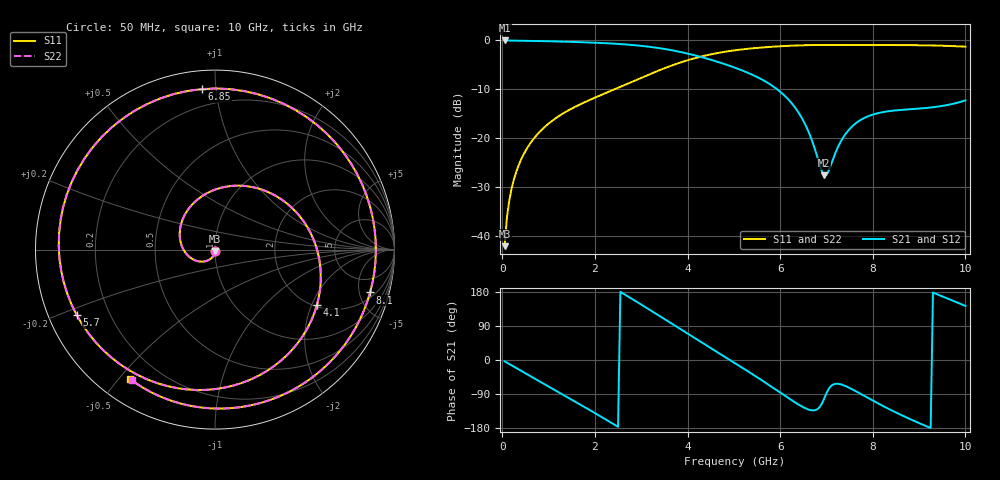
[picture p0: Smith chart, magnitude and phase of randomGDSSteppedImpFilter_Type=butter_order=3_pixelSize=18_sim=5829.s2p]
! freq	dB(S11)	phase(S11)	dB(S12)	phase(S12)
!  dB(S21)	phase(S21)	dB(S22)	phase(S22)
!S-par simulation data
#  GHz  S  DB  R 50
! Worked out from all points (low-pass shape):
!   200 points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, 50 MHz to 10 GHz, reference 50 ohm
!   highest |S21| = -0.02 dB at 50 MHz (marker M1); lowest = -27.6 dB at 6.95 GHz (marker M2)
!   |S21| within 3 dB of the highest: start of sweep to 4.141 GHz
!   lowest |S11| = -42.0 dB at 50 MHz (marker M3), VSWR 1.02, Z = 50.1 - j0.787 ohm
!   |S11| at or under -10 dB: start of sweep to 2.418 GHz
!   |S22| runs from -42.0 to -0.9 dB; largest |S21 - S12| = 0
!   S11 on the Smith chart (normalised r, x): 50 MHz: 1.00, -0.02; 4.1 GHz: 2.06, -2.19; 5.7 GHz: 0.08, -0.22; 6.85 GHz: 0.10, +0.92; 8.1 GHz: 2.60, -6.32; 10 GHz: 0.10, -0.54
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0.05  -42.00 -81.3  -0.02 -3.5  -0.02 -3.5  -42.00 -81.3
0.2  -30.29 -100.9  -0.04 -14.0  -0.04 -14.0  -30.29 -100.9
0.5  -22.58 -124.6  -0.08 -34.8  -0.08 -34.8  -22.58 -124.5
1.15  -15.91 -171.0  -0.21 -80.1  -0.21 -80.1  -15.91 -170.8
1.75  -12.75 146.6  -0.39 -122.3  -0.39 -122.3  -12.75 146.9
2.15  -11.08 118.0  -0.54 -150.9  -0.54 -150.9  -11.08 118.3
2.55  -9.47 88.9  -0.76 179.9  -0.76 179.9  -9.47 89.2
2.95  -7.84 59.1  -1.07 150.1  -1.07 150.1  -7.84 59.4
3.4  -6.07 25.0  -1.60 115.8  -1.60 115.8  -6.07 25.2
4.1  -3.79 -28.6  -2.92 62.0  -2.92 62.0  -3.79 -28.5
4.55  -2.76 -63.0  -4.09 27.7  -4.09 27.7  -2.76 -63.0
5.05  -1.99 -101.6  -5.67 -10.3  -5.67 -10.3  -1.99 -101.6
5.7  -1.39 -154.7  -8.49 -61.3  -8.49 -61.3  -1.39 -154.6
6.2  -1.10 159.8  -12.31 -102.2  -12.31 -102.2  -1.10 159.9
6.7  -0.96 109.9  -20.79 -133.1  -20.79 -133.1  -0.95 110.2
6.85  -0.94 94.6  -25.32 -124.7  -25.32 -124.7  -0.94 95.0
6.95  -0.94 84.5  -27.56 -101.9  -27.56 -101.9  -0.93 84.9
7.55  -0.95 27.8  -17.60 -77.0  -17.60 -77.0  -0.94 28.4
8.1  -0.95 -15.5  -14.88 -113.7  -14.88 -113.7  -0.95 -14.8
8.35  -0.95 -32.4  -14.45 -129.5  -14.45 -129.5  -0.95 -31.8
9.15  -1.02 -79.0  -13.80 -174.4  -13.80 -174.4  -1.01 -78.4
10  -1.28 -123.2  -12.24 142.8  -12.24 142.8  -1.28 -122.6
